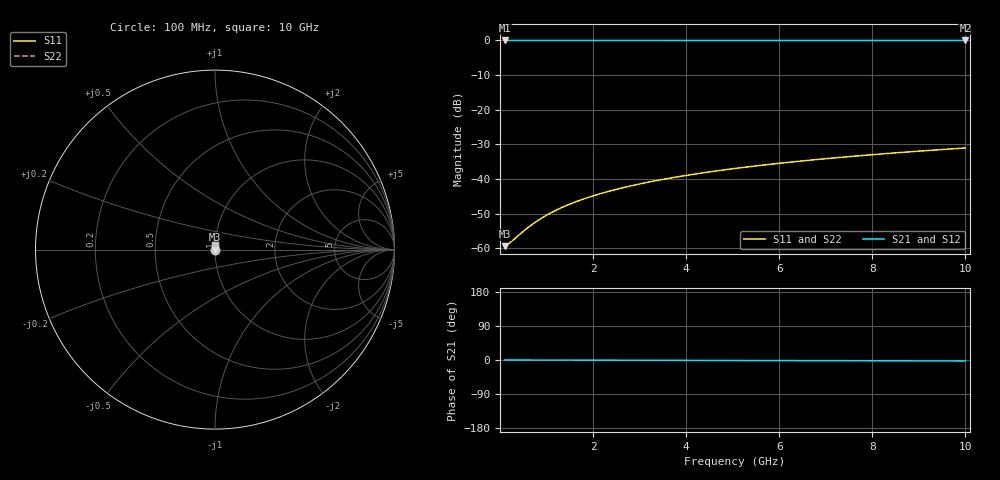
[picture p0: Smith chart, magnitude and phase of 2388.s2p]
# Hz S RI R 50.00
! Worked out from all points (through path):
!   100 points, 100 MHz to 10 GHz, reference 50 ohm
!   highest |S21| = -0.01 dB at 100 MHz (marker M1); lowest = 0.0 dB at 10 GHz (marker M2)
!   lowest |S11| = -59.4 dB at 100 MHz (marker M3), VSWR 1.00, Z = 50.1 + j0.0279 ohm
!   |S11| at or under -10 dB: start of sweep to end of sweep
!   |S22| runs from -59.4 to -31.1 dB; largest |S21 - S12| = 0
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1e8  0.00103 0.000279  0.999 -0.000441  0.999 -0.000441  0.00103 0.000279
2e8  0.00104 0.000558  0.999 -0.000883  0.999 -0.000883  0.00104 0.000558
5e8  0.00105 0.00139  0.9989 -0.00221  0.9989 -0.00221  0.00105 0.00139
6e8  0.00106 0.00167  0.9989 -0.00265  0.9989 -0.00265  0.00106 0.00167
7e8  0.00106 0.00195  0.9989 -0.00309  0.9989 -0.00309  0.00106 0.00195
9e8  0.00107 0.00251  0.9989 -0.00397  0.9989 -0.00397  0.00107 0.00251
1.1e9  0.00108 0.00307  0.9989 -0.00486  0.9989 -0.00486  0.00108 0.00307
1.3e9  0.00109 0.00362  0.9989 -0.00574  0.9989 -0.00574  0.00109 0.00362
1.5e9  0.0011 0.00418  0.9989 -0.00662  0.9989 -0.00662  0.0011 0.00418
1.8e9  0.00112 0.00502  0.9989 -0.00795  0.9989 -0.00795  0.00112 0.00502
2.1e9  0.00113 0.00585  0.9989 -0.00927  0.9989 -0.00927  0.00113 0.00585
2.5e9  0.00116 0.00697  0.9988 -0.011  0.9988 -0.011  0.00116 0.00697
2.9e9  0.00119 0.00808  0.9988 -0.0128  0.9988 -0.0128  0.00119 0.00808
3.4e9  0.00124 0.00948  0.9987 -0.015  0.9987 -0.015  0.00124 0.00948
3.8e9  0.00128 0.0106  0.9987 -0.0168  0.9987 -0.0168  0.00128 0.0106
4.2e9  0.00132 0.0117  0.9986 -0.0185  0.9986 -0.0185  0.00132 0.0117
5.1e9  0.00143 0.0142  0.9985 -0.0225  0.9985 -0.0225  0.00143 0.0142
5.9e9  0.00155 0.0164  0.9984 -0.0261  0.9984 -0.0261  0.00155 0.0164
6.7e9  0.00168 0.0187  0.9983 -0.0296  0.9983 -0.0296  0.00168 0.0187
7.5e9  0.00183 0.0209  0.9981 -0.0331  0.9981 -0.0331  0.00183 0.0209
8.4e9  0.00201 0.0234  0.9979 -0.0371  0.9979 -0.0371  0.00201 0.0234
1e10  0.00239 0.0279  0.9975 -0.0442  0.9975 -0.0442  0.00239 0.0279
